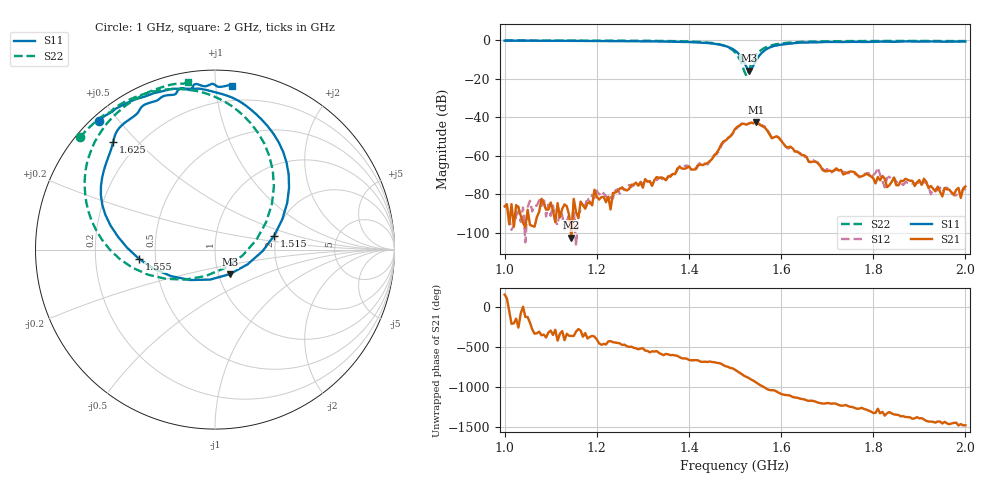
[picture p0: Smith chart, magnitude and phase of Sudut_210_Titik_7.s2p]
# Hz S RI R 50
! CMT, C1220, 16058040, 17.2.0/1
! Date: 14/08/2018 12:15:06
! Data: Format (Calibration Info)
! Freq  S11: Re/Im (F2)  S21: Re/Im (F2)  S12: Re/Im (F2)  S22: Re/Im (F2)
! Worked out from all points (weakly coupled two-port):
!   201 points, 1 GHz to 2 GHz, reference 50 ohm
!   highest |S21| = -42.43 dB at 1.545 GHz (marker M1); lowest = -102.4 dB at 1.145 GHz (marker M2)
!   lowest |S11| = -15.9 dB at 1.53 GHz (marker M3), VSWR 1.38, Z = 56.7 - j15.9 ohm
!   |S11| at or under -10 dB: 1.516 GHz to 1.547 GHz (30.82 MHz wide, 2.01 % of centre)
!   |S22| runs from -18.7 to -0.2 dB; largest |S21 - S12| = 0.00043
!   S11 on the Smith chart (normalised r, x): 1 GHz: 0.02, +0.44; 1.515 GHz: 1.94, +0.35; 1.555 GHz: 0.40, -0.05; 1.625 GHz: 0.11, +0.43; 2 GHz: 0.09, +1.11
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1e9  -0.6478 0.7144  -4.24e-05 2.45e-05  3.65e-05 2.87e-05  -0.7536 0.625
1.145e9  -0.5016 0.8119  7.57e-06 -5.82e-07  1.51e-05 9.77e-07  -0.6416 0.7322
1.17e9  -0.4787 0.8225  5.08e-05 -1.27e-05  5.08e-05 2.27e-06  -0.6168 0.7507
1.25e9  -0.3569 0.8656  -1.57e-05 -0.00014  -1.11e-05 -0.000104  -0.5361 0.804
1.335e9  -0.2205 0.8959  -0.000218 0.000151  -0.000195 0.00019  -0.4005 0.8652
1.44e9  0.13 0.8297  0.000542 0.000339  0.000542 0.000248  -0.0386 0.8662
1.5e9  0.4126 0.3442  0.00215 -0.00446  0.00202 -0.00416  0.3284 0.3527
1.515e9  0.33 0.0785  -0.00334 -0.00591  -0.00317 -0.00606  0.231 0.0547
1.525e9  0.1821 -0.0817  -0.00573 -0.00289  -0.00584 -0.00296  0.0565 -0.1018
1.53e9  0.0832 -0.1365  -0.00671 -0.0015  -0.00675 -0.00156  -0.0513 -0.147
1.545e9  -0.2443 -0.1479  -0.00587 0.00477  -0.0059 0.00463  -0.3733 -0.1398
1.555e9  -0.4238 -0.0512  -0.00146 0.00606  -0.0018 0.00616  -0.5305 -0.0526
1.625e9  -0.567 0.5998  0.00117 -0.00104  0.00116 -0.000947  -0.7017 0.5211
1.67e9  -0.4482 0.7454  -2.3e-05 -0.00071  -3.28e-05 -0.000764  -0.6252 0.6724
1.77e9  -0.2482 0.8614  -0.000286 3.32e-05  -0.000275 2.11e-05  -0.4687 0.8225
1.81e9  -0.1962 0.8956  -0.000279 4.14e-05  -0.000178 0.000459  -0.4108 0.8572
1.825e9  -0.166 0.8956  1.68e-05 0.000255  -9.53e-05 0.000117  -0.3901 0.8671
1.835e9  -0.1447 0.89  -0.000112 0.000131  -0.000101 0.000269  -0.3768 0.8739
1.91e9  -0.0385 0.9142  0.000198 0.000161  0.000188 9.48e-05  -0.2721 0.9127
1.925e9  -0.0177 0.9235  0.000161 3.47e-05  9.9e-05 1.61e-05  -0.251 0.9178
1.95e9  0.0119 0.9094  8.67e-05 -1.7e-05  0.000115 8.83e-06  -0.2129 0.9242
2e9  0.0957 0.9138  0.000133 -8.96e-05  9.72e-05 -8.2e-05  -0.1525 0.9329
